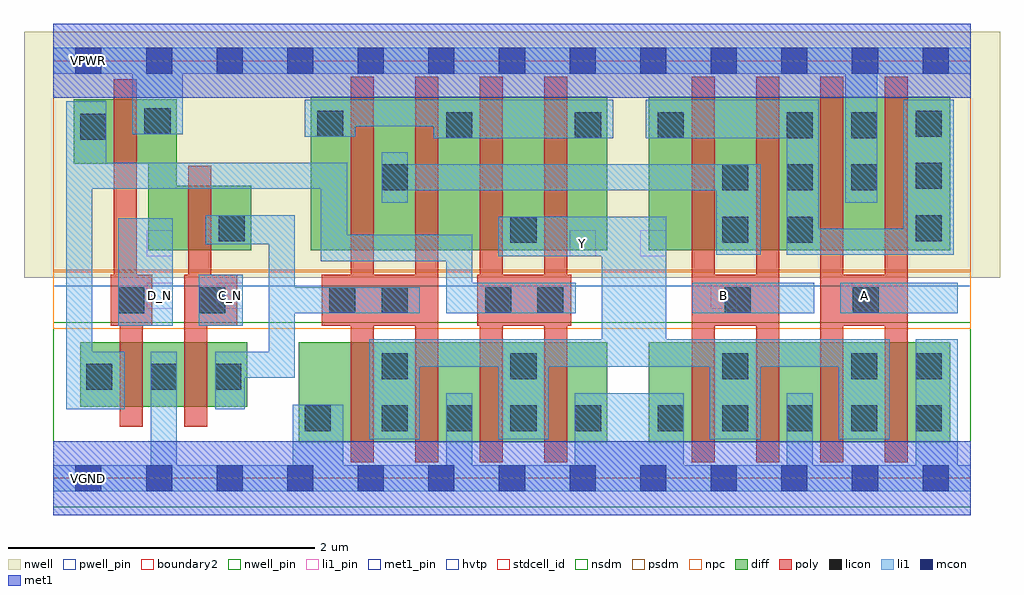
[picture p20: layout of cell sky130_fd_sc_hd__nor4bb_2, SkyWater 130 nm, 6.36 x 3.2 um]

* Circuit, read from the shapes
.subckt sky130_fd_sc_hd__nor4bb_2 A B C_N D_N VGND VNB VPB VPWR Y
XM1 VGND D_N n1 VNB sky130_fd_pr__nfet_01v8 w=0.42 l=0.15
XM2 n2 C_N VGND VNB sky130_fd_pr__nfet_01v8 w=0.42 l=0.15
XM3 Y n2 VGND VNB sky130_fd_pr__nfet_01v8 w=0.65 l=0.15 m=2
XM4 Y n1 VGND VNB sky130_fd_pr__nfet_01v8 w=0.65 l=0.15 m=2
XM5 Y B VGND VNB sky130_fd_pr__nfet_01v8 w=0.65 l=0.15 m=2
XM6 Y A VGND VNB sky130_fd_pr__nfet_01v8 w=0.65 l=0.15 m=2
XM7 VPWR D_N n1 VPB sky130_fd_pr__pfet_01v8_hvt w=0.42 l=0.15
XM8 n2 C_N VPWR VPB sky130_fd_pr__pfet_01v8_hvt w=0.42 l=0.15
XM9 n3 n2 n4 VPB sky130_fd_pr__pfet_01v8_hvt w=1 l=0.15 m=2
XM10 Y n1 n4 VPB sky130_fd_pr__pfet_01v8_hvt w=1 l=0.15 m=2
XM11 n3 B n5 VPB sky130_fd_pr__pfet_01v8_hvt w=1 l=0.15 m=2
XM12 VPWR A n5 VPB sky130_fd_pr__pfet_01v8_hvt w=1 l=0.15 m=2
.ends

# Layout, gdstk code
import gdstk
lib = gdstk.Library(unit=1e-6, precision=1e-09)
def R(c, l, rs):  # rectangles x0, y0, x1, y1
    for r in rs: c.add(gdstk.rectangle(r[:2], r[2:], *l))
def A(c, l, x, y, w, h, nx, ny, dx, dy):  # array of equal rectangles
    R(c, l, [(x+i*dx, y+j*dy, x+i*dx+w, y+j*dy+h) for i in range(nx) for j in range(ny)])
def P(c, l, *ps):  # polygons
    for p in ps: c.add(gdstk.Polygon(p, *l))
nwell_pin = (64, 16)
nwell = (64, 20)
diff = (65, 20)
poly = (66, 20)
licon = (66, 44)
li1_pin = (67, 16)
li1 = (67, 20)
mcon = (67, 44)
met1_pin = (68, 16)
met1 = (68, 20)
hvtp = (78, 44)
stdcell_id = (81, 4)
nsdm = (93, 44)
psdm = (94, 20)
npc = (95, 20)
pwell_pin = (122, 16)
boundary2 = (236, 0)

sky130_fd_sc_hd__nor4bb_ = lib.new_cell('sky130_fd_sc_hd__nor4bb_2')
R(sky130_fd_sc_hd__nor4bb_, nwell_pin, [(0.145,2.635,0.315,2.805)])
R(sky130_fd_sc_hd__nor4bb_, nwell, [(-0.19,1.305,6.17,2.91)])
R(sky130_fd_sc_hd__nor4bb_, diff, [(1.6,0.235,3.61,0.885), (3.88,0.235,5.845,0.885), (0.175,0.465,1.265,0.885), (1.68,1.485,3.61,2.485), (3.88,1.485,5.845,2.485)])
P(sky130_fd_sc_hd__nor4bb_, diff, [(0.62,1.485),(0.62,2.05),(0.135,2.05),(0.135,2.47),(0.805,2.47),(0.805,1.905),(1.29,1.905),(1.29,1.485)])
R(sky130_fd_sc_hd__nor4bb_, poly, [(0.435,0.335,0.585,1.025), (0.375,0.995,0.645,1.325), (0.395,1.31,0.545,2.6), (0.88,1.31,1.03,2.035)])
P(sky130_fd_sc_hd__nor4bb_, poly, [(0.855,0.335),(0.855,1.325),(1.2,1.325),(1.2,0.995),(1.005,0.995),(1.005,0.335)],
  [(1.94,0.105),(1.94,0.995),(1.75,0.995),(1.75,1.325),(1.94,1.325),(1.94,2.615),(2.09,2.615),(2.09,1.325),(2.36,1.325),(2.36,2.615),(2.51,2.615),(2.51,0.105),(2.36,0.105),(2.36,0.995),(2.09,0.995),(2.09,0.105)],
  [(2.78,0.105),(2.78,0.995),(2.765,0.995),(2.765,1.325),(2.78,1.325),(2.78,2.615),(2.93,2.615),(2.93,1.325),(3.2,1.325),(3.2,2.615),(3.35,2.615),(3.35,1.325),(3.375,1.325),(3.375,0.995),(3.35,0.995),(3.35,0.105),(3.2,0.105),(3.2,0.995),(2.93,0.995),(2.93,0.105)],
  [(4.16,0.105),(4.16,2.615),(4.31,2.615),(4.31,1.325),(4.58,1.325),(4.58,2.615),(4.73,2.615),(4.73,0.105),(4.58,0.105),(4.58,0.995),(4.31,0.995),(4.31,0.105)],
  [(5,0.105),(5,2.615),(5.15,2.615),(5.15,1.325),(5.42,1.325),(5.42,2.615),(5.57,2.615),(5.57,0.105),(5.42,0.105),(5.42,0.995),(5.15,0.995),(5.15,0.105)])
A(sky130_fd_sc_hd__nor4bb_, licon, 2.14, 0.305, 0.17, 0.17, 4, 1, 0.42, 0)
A(sky130_fd_sc_hd__nor4bb_, licon, 3.94, 0.305, 0.17, 0.17, 5, 1, 0.42, 0)
A(sky130_fd_sc_hd__nor4bb_, licon, 0.215, 0.575, 0.17, 0.17, 3, 1, 0.42, 0)
A(sky130_fd_sc_hd__nor4bb_, licon, 5.62, 1.545, 0.17, 0.17, 1, 3, 0, 0.34)
A(sky130_fd_sc_hd__nor4bb_, licon, 4.36, 1.875, 0.17, 0.17, 3, 1, 0.42, 0)
R(sky130_fd_sc_hd__nor4bb_, licon, [(1.64,0.305,1.81,0.475), (2.14,0.645,2.31,0.815), (2.98,0.645,3.15,0.815), (4.36,0.645,4.53,0.815), (5.2,0.645,5.37,0.815), (5.62,0.645,5.79,0.815), (0.425,1.075,0.595,1.245), (0.95,1.075,1.12,1.245), (1.8,1.075,1.97,1.245), (2.14,1.075,2.31,1.245), (2.815,1.075,2.985,1.245), (3.155,1.075,3.325,1.245), (4.375,1.075,4.545,1.245), (5.21,1.075,5.38,1.245), (2.98,1.535,3.15,1.705), (4.36,1.535,4.53,1.705), (4.78,1.535,4.95,1.705), (1.08,1.545,1.25,1.715), (2.14,1.875,2.31,2.045), (0.175,2.205,0.345,2.375), (2.56,2.215,2.73,2.385), (3.4,2.215,3.57,2.385), (3.94,2.215,4.11,2.385), (4.78,2.215,4.95,2.385), (5.2,2.215,5.37,2.385), (1.72,2.225,1.89,2.395), (0.595,2.24,0.765,2.41)])
R(sky130_fd_sc_hd__nor4bb_, li1_pin, [(0.61,1.105,0.78,1.275), (1.065,1.105,1.235,1.275), (4.285,1.105,4.455,1.275), (5.205,1.105,5.375,1.275), (0.61,1.445,0.78,1.615), (3.365,1.445,3.535,1.615), (3.825,1.445,3.995,1.615)])
R(sky130_fd_sc_hd__nor4bb_, li1, [(0.425,0.995,0.78,1.695), (0.95,0.995,1.235,1.325), (4.165,1.075,4.96,1.275), (5.13,1.075,5.895,1.275)])
P(sky130_fd_sc_hd__nor4bb_, li1, [(0,-0.085),(0,0.085),(0.635,0.085),(0.635,0.825),(0.805,0.825),(0.805,0.085),(1.56,0.085),(1.56,0.48),(1.89,0.48),(1.89,0.085),(2.56,0.085),(2.56,0.555),(2.73,0.555),(2.73,0.085),(3.4,0.085),(3.4,0.555),(4.11,0.555),(4.11,0.085),(4.78,0.085),(4.78,0.555),(4.95,0.555),(4.95,0.085),(5.62,0.085),(5.62,0.905),(5.895,0.905),(5.895,0.085),(5.98,0.085),(5.98,-0.085)],
  [(5.16,1.795),(5.16,2.635),(0.845,2.635),(0.845,2.24),(0.515,2.24),(0.515,2.635),(0,2.635),(0,2.805),(5.98,2.805),(5.98,2.635),(5.37,2.635),(5.37,1.795)],
  [(1.055,0.45),(1.055,0.825),(1.405,0.825),(1.405,1.525),(0.995,1.525),(0.995,1.715),(1.575,1.715),(1.575,1.245),(2.39,1.245),(2.39,1.075),(1.575,1.075),(1.575,0.655),(1.25,0.655),(1.25,0.45)],
  [(0.085,0.45),(0.085,2.455),(0.345,2.455),(0.345,2.055),(1.915,2.055),(1.915,1.585),(2.73,1.585),(2.73,1.275),(3.405,1.275),(3.405,1.075),(2.56,1.075),(2.56,1.415),(1.745,1.415),(1.745,1.885),(0.255,1.885),(0.255,0.825),(0.465,0.825),(0.465,0.45)],
  [(2.48,2.215),(2.48,2.295),(1.97,2.295),(1.97,2.225),(1.64,2.225),(1.64,2.465),(3.65,2.465),(3.65,2.215)],
  [(4.32,1.455),(4.32,1.875),(2.31,1.875),(2.31,1.795),(2.14,1.795),(2.14,2.125),(2.31,2.125),(2.31,2.045),(4.61,2.045),(4.61,1.455)],
  [(2.06,0.255),(2.06,0.905),(3.575,0.905),(3.575,1.445),(2.9,1.445),(2.9,1.705),(3.995,1.705),(3.995,0.905),(5.45,0.905),(5.45,0.255),(5.12,0.255),(5.12,0.725),(4.61,0.725),(4.61,0.255),(4.28,0.255),(4.28,0.725),(3.23,0.725),(3.23,0.255),(2.9,0.255),(2.9,0.725),(2.39,0.725),(2.39,0.255)],
  [(4.78,1.455),(4.78,2.215),(3.86,2.215),(3.86,2.465),(4.99,2.465),(4.99,1.625),(5.54,1.625),(5.54,2.465),(5.87,2.465),(5.87,1.455)])
A(sky130_fd_sc_hd__nor4bb_, mcon, 0.145, -0.085, 0.17, 0.17, 13, 2, 0.46, 2.72)
R(sky130_fd_sc_hd__nor4bb_, met1_pin, [(0.145,-0.085,0.315,0.085), (0.145,2.635,0.315,2.805)])
R(sky130_fd_sc_hd__nor4bb_, hvtp, [(0,1.25,5.98,2.72)])
R(sky130_fd_sc_hd__nor4bb_, stdcell_id, [(0,0,5.98,2.72)])
R(sky130_fd_sc_hd__nor4bb_, nsdm, [(0,-0.19,5.98,1.015)])
R(sky130_fd_sc_hd__nor4bb_, psdm, [(0,1.355,5.98,2.91)])
R(sky130_fd_sc_hd__nor4bb_, npc, [(0,0.975,5.98,1.345)])
R(sky130_fd_sc_hd__nor4bb_, pwell_pin, [(0.145,-0.085,0.315,0.085)])
R(sky130_fd_sc_hd__nor4bb_, boundary2, [(0,0,5.98,2.72)])
sky130_fd_sc_hd__nor4bb_.add(gdstk.FlexPath([(0,2.72),(5.98,2.72)], 0.48, ends="flush", simple_path=True, layer=68, datatype=20))  # met1
sky130_fd_sc_hd__nor4bb_.add(gdstk.FlexPath([(0,0),(5.98,0)], 0.48, ends="flush", simple_path=True, layer=68, datatype=20))  # met1
sky130_fd_sc_hd__nor4bb_.add(gdstk.Label('VGND', (0.23,0), layer=68, texttype=5))
sky130_fd_sc_hd__nor4bb_.add(gdstk.Label('VPWR', (0.23,2.72), layer=68, texttype=5))
sky130_fd_sc_hd__nor4bb_.add(gdstk.Label('nor4bb_2', (0,0), layer=83, texttype=44))
sky130_fd_sc_hd__nor4bb_.add(gdstk.Label('VNB', (0.23,0), layer=64, texttype=59))
sky130_fd_sc_hd__nor4bb_.add(gdstk.Label('VPB', (0.23,2.72), layer=64, texttype=5))
sky130_fd_sc_hd__nor4bb_.add(gdstk.Label('D_N', (0.695,1.19), layer=67, texttype=5))
sky130_fd_sc_hd__nor4bb_.add(gdstk.Label('C_N', (1.155,1.19), layer=67, texttype=5))
sky130_fd_sc_hd__nor4bb_.add(gdstk.Label('A', (5.29,1.19), layer=67, texttype=5))
sky130_fd_sc_hd__nor4bb_.add(gdstk.Label('Y', (3.45,1.53), layer=67, texttype=5))
sky130_fd_sc_hd__nor4bb_.add(gdstk.Label('B', (4.37,1.19), layer=67, texttype=5))

lib.write_gds('sky130_fd_sc_hd__nor4bb_2.gds')
